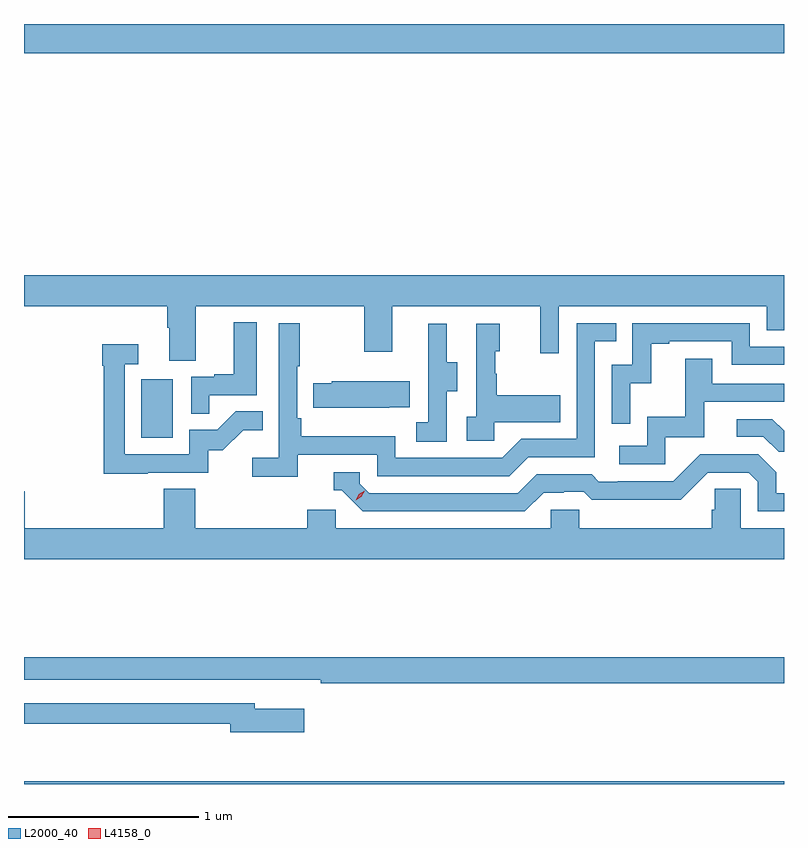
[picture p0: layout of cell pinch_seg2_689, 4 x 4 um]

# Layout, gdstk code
import gdstk
lib = gdstk.Library(unit=1e-6, precision=1e-09)
def R(c, l, rs):  # rectangles x0, y0, x1, y1
    for r in rs: c.add(gdstk.rectangle(r[:2], r[2:], *l))
def P(c, l, *ps):  # polygons
    for p in ps: c.add(gdstk.Polygon(p, *l))
L2000_40 = (2000, 40)
L4158_0 = (4158, 0)

pinch_seg2_689 = lib.new_cell('pinch_seg2_689')
R(pinch_seg2_689, L2000_40, [(1106.648,587.846,1110.648,587.86), (1107.266,589.668,1107.43,589.975), (1106.648,591.692,1110.648,591.846)])
P(pinch_seg2_689, L2000_40, [(1107.553,590.36),(1108.438,590.36),(1108.438,590.121),(1108.585,590.121),(1108.585,590.36),(1109.366,590.36),(1109.366,590.112),(1109.463,590.112),(1109.463,590.36),(1110.558,590.36),(1110.558,590.233),(1110.648,590.233),(1110.648,590.524),(1106.648,590.524),(1106.648,590.36),(1107.401,590.36),(1107.401,590.248),(1107.413,590.248),(1107.413,590.074),(1107.553,590.074)],
  [(1107.623,589.893),(1107.874,589.893),(1107.874,590.275),(1107.752,590.275),(1107.752,590.002),(1107.649,590.002),(1107.649,589.989),(1107.528,589.989),(1107.528,589.795),(1107.623,589.795)],
  [(1108.088,589.578),(1108.506,589.578),(1108.506,589.467),(1109.203,589.467),(1109.302,589.566),(1109.652,589.566),(1109.652,590.175),(1109.765,590.175),(1109.765,590.271),(1109.556,590.271),(1109.556,589.662),(1109.265,589.662),(1109.166,589.563),(1108.602,589.563),(1108.602,589.675),(1108.106,589.675),(1108.106,589.771),(1108.086,589.771),(1108.086,590.044),(1108.099,590.044),(1108.099,590.272),(1107.99,590.272),(1107.99,589.564),(1107.849,589.564),(1107.849,589.462),(1108.088,589.462)],
  [(1109.838,589.955),(1109.948,589.955),(1109.948,590.163),(1110.043,590.163),(1110.043,590.175),(1110.372,590.175),(1110.372,590.052),(1110.648,590.052),(1110.648,590.148),(1110.468,590.148),(1110.468,590.271),(1109.85,590.271),(1109.85,590.052),(1109.742,590.052),(1109.742,589.743),(1109.838,589.743)],
  [(1108.872,589.912),(1108.927,589.912),(1108.927,590.067),(1108.873,590.067),(1108.873,590.269),(1108.775,590.269),(1108.775,590.055),(1108.776,590.055),(1108.776,589.751),(1108.713,589.751),(1108.713,589.648),(1108.872,589.648)],
  [(1109.124,589.751),(1109.471,589.751),(1109.471,589.891),(1109.137,589.891),(1109.137,590.006),(1109.127,590.006),(1109.127,590.124),(1109.152,590.124),(1109.152,590.269),(1109.028,590.269),(1109.028,589.778),(1108.977,589.778),(1108.977,589.653),(1109.124,589.653)],
  [(1107.299,589.485),(1107.618,589.485),(1107.618,589.602),(1107.694,589.602),(1107.801,589.709),(1107.905,589.709),(1107.905,589.808),(1107.762,589.808),(1107.664,589.71),(1107.519,589.71),(1107.519,589.581),(1107.177,589.581),(1107.177,590.055),(1107.25,590.055),(1107.25,590.161),(1107.061,590.161),(1107.061,590.048),(1107.069,590.048),(1107.069,589.48),(1107.299,589.48)],
  [(1110.024,589.671),(1110.229,589.671),(1110.229,589.857),(1110.648,589.857),(1110.648,589.953),(1110.271,589.953),(1110.271,590.083),(1110.127,590.083),(1110.127,589.78),(1109.928,589.78),(1109.928,589.626),(1109.781,589.626),(1109.781,589.53),(1110.024,589.53)],
  [(1108.571,589.829),(1108.679,589.829),(1108.679,589.966),(1108.269,589.966),(1108.269,589.956),(1108.171,589.956),(1108.171,589.826),(1108.571,589.826)],
  [(1110.648,589.705),(1110.586,589.767),(1110.399,589.767),(1110.399,589.674),(1110.54,589.674),(1110.62,589.594),(1110.648,589.594)],
  [(1109.383,589.38),(1109.49,589.38),(1109.49,589.383),(1109.593,589.383),(1109.635,589.341),(1109.868,589.341),(1109.868,589.343),(1110.104,589.343),(1110.246,589.485),(1110.462,589.485),(1110.51,589.437),(1110.51,589.281),(1110.648,589.281),(1110.648,589.377),(1110.607,589.377),(1110.607,589.487),(1110.513,589.581),(1110.207,589.581),(1110.066,589.44),(1109.773,589.44),(1109.773,589.437),(1109.674,589.437),(1109.635,589.476),(1109.346,589.476),(1109.247,589.377),(1108.464,589.377),(1108.416,589.425),(1108.416,589.488),(1108.277,589.488),(1108.277,589.392),(1108.32,589.392),(1108.431,589.281),(1109.284,589.281)],
  [(1110.283,589.4),(1110.283,589.29),(1110.269,589.29),(1110.269,589.192),(1109.571,589.192),(1109.571,589.29),(1109.421,589.29),(1109.421,589.192),(1108.29,589.192),(1108.29,589.29),(1108.139,589.29),(1108.139,589.192),(1107.548,589.192),(1107.548,589.4),(1107.383,589.4),(1107.383,589.192),(1106.651,589.192),(1106.651,589.388),(1106.648,589.388),(1106.648,589.028),(1110.648,589.028),(1110.648,589.192),(1110.42,589.192),(1110.42,589.4)],
  [(1110.648,588.512),(1106.648,588.512),(1106.648,588.396),(1107.958,588.396),(1107.958,588.395),(1108.21,588.395),(1108.21,588.376),(1110.648,588.376)],
  [(1108.123,588.241),(1107.862,588.241),(1107.862,588.27),(1106.648,588.27),(1106.648,588.162),(1107.734,588.162),(1107.734,588.119),(1108.123,588.119)])
P(pinch_seg2_689, L4158_0, [(1108.393,589.339),(1108.393,589.339),(1108.41,589.371),(1108.441,589.39),(1108.441,589.39),(1108.441,589.39),(1108.424,589.358),(1108.393,589.339)])

lib.write_gds('pinch_seg2_689.gds')
